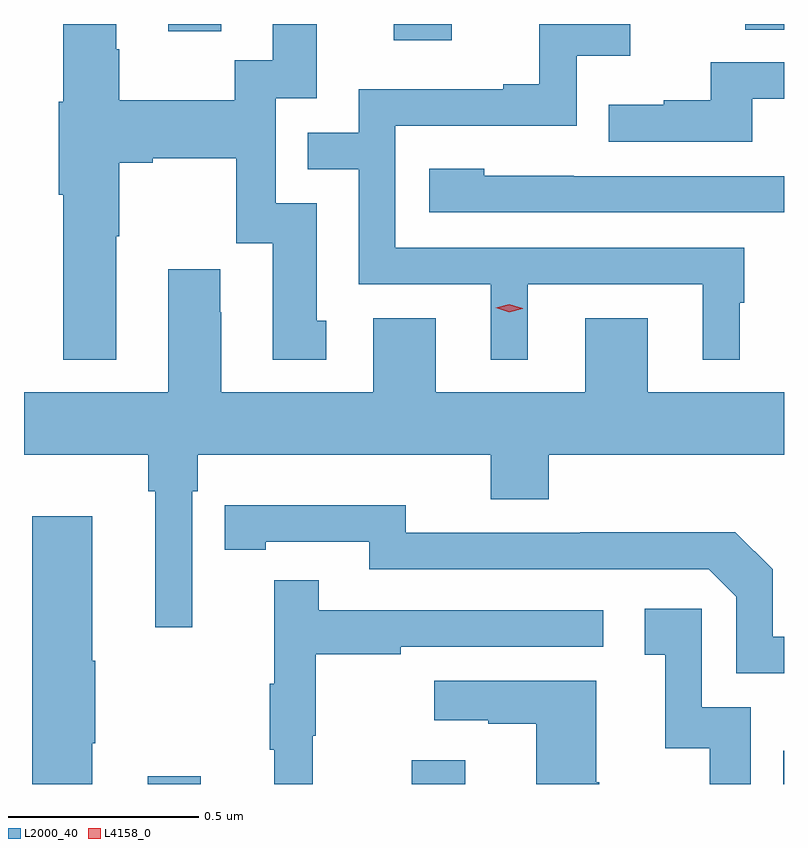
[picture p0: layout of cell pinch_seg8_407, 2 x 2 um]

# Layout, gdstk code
import gdstk
lib = gdstk.Library(unit=1e-6, precision=1e-09)
def R(c, l, rs):  # rectangles x0, y0, x1, y1
    for r in rs: c.add(gdstk.rectangle(r[:2], r[2:], *l))
def P(c, l, *ps):  # polygons
    for p in ps: c.add(gdstk.Polygon(p, *l))
L2000_40 = (2000, 40)
L4158_0 = (4158, 0)

pinch_seg8_407 = lib.new_cell('pinch_seg8_407')
R(pinch_seg8_407, L2000_40, [(507.089,1094.321,507.229,1094.341), (507.785,1094.321,507.925,1094.383), (508.762,1094.321,508.764,1094.409), (507.737,1096.278,507.889,1096.321), (507.143,1096.302,507.283,1096.321), (508.662,1096.306,508.764,1096.321)])
P(pinch_seg8_407, L2000_40, [(507.007,1095.763),(507.015,1095.763),(507.015,1095.956),(507.103,1095.956),(507.103,1095.968),(507.323,1095.968),(507.323,1095.744),(507.419,1095.744),(507.419,1095.438),(507.559,1095.438),(507.559,1095.54),(507.535,1095.54),(507.535,1095.849),(507.426,1095.849),(507.426,1096.125),(507.535,1096.125),(507.535,1096.321),(507.419,1096.321),(507.419,1096.226),(507.318,1096.226),(507.318,1096.12),(507.015,1096.12),(507.015,1096.254),(507.007,1096.254),(507.007,1096.321),(506.867,1096.321),(506.867,1096.116),(506.855,1096.116),(506.855,1095.872),(506.867,1095.872),(506.867,1095.437),(507.007,1095.437)],
  [(508.09,1095.636),(508.55,1095.636),(508.55,1095.437),(508.648,1095.437),(508.648,1095.588),(508.66,1095.588),(508.66,1095.732),(507.741,1095.732),(507.741,1096.053),(508.218,1096.053),(508.218,1096.238),(508.36,1096.238),(508.36,1096.321),(508.12,1096.321),(508.12,1096.162),(508.025,1096.162),(508.025,1096.149),(507.645,1096.149),(507.645,1096.035),(507.511,1096.035),(507.511,1095.939),(507.645,1095.939),(507.645,1095.636),(507.992,1095.636),(507.992,1095.437),(508.09,1095.437)],
  [(508.681,1096.124),(508.764,1096.124),(508.764,1096.221),(508.571,1096.221),(508.571,1096.12),(508.447,1096.12),(508.447,1096.108),(508.303,1096.108),(508.303,1096.011),(508.681,1096.011)],
  [(508.764,1095.921),(508.211,1095.921),(508.211,1095.922),(507.975,1095.922),(507.975,1095.94),(507.831,1095.94),(507.831,1095.825),(508.764,1095.825)],
  [(507.207,1095.092),(507.221,1095.092),(507.221,1095.188),(507.992,1095.188),(507.992,1095.071),(508.145,1095.071),(508.145,1095.188),(508.764,1095.188),(508.764,1095.352),(508.405,1095.352),(508.405,1095.547),(508.241,1095.547),(508.241,1095.352),(507.847,1095.352),(507.847,1095.547),(507.683,1095.547),(507.683,1095.352),(507.283,1095.352),(507.283,1095.563),(507.28,1095.563),(507.28,1095.676),(507.143,1095.676),(507.143,1095.352),(506.764,1095.352),(506.764,1095.188),(507.091,1095.188),(507.091,1095.092),(507.11,1095.092),(507.11,1094.733),(507.207,1094.733)],
  [(508.764,1094.709),(508.734,1094.709),(508.734,1094.886),(508.636,1094.984),(508.228,1094.984),(508.228,1094.982),(507.768,1094.982),(507.768,1095.055),(507.4,1095.055),(507.4,1095.054),(507.292,1095.054),(507.292,1094.938),(507.4,1094.938),(507.4,1094.958),(507.672,1094.958),(507.672,1094.886),(508.566,1094.886),(508.638,1094.814),(508.638,1094.613),(508.764,1094.613)],
  [(506.944,1094.428),(506.952,1094.428),(506.952,1094.645),(506.944,1094.645),(506.944,1095.025),(506.786,1095.025),(506.786,1094.321),(506.944,1094.321)],
  [(507.524,1094.448),(507.532,1094.448),(507.532,1094.662),(507.755,1094.662),(507.755,1094.682),(508.288,1094.682),(508.288,1094.778),(507.539,1094.778),(507.539,1094.857),(507.422,1094.857),(507.422,1094.585),(507.411,1094.585),(507.411,1094.411),(507.422,1094.411),(507.422,1094.321),(507.524,1094.321)],
  [(508.677,1094.523),(508.548,1094.523),(508.548,1094.782),(508.398,1094.782),(508.398,1094.661),(508.451,1094.661),(508.451,1094.415),(508.569,1094.415),(508.569,1094.321),(508.677,1094.321)],
  [(508.278,1094.326),(508.27,1094.326),(508.27,1094.593),(507.843,1094.593),(507.843,1094.489),(507.986,1094.489),(507.986,1094.479),(508.112,1094.479),(508.112,1094.321),(508.278,1094.321)])
P(pinch_seg8_407, L4158_0, [(508.041,1095.563),(508.005,1095.574),(508.005,1095.574),(508.005,1095.574),(508.041,1095.583),(508.077,1095.573),(508.077,1095.573),(508.077,1095.572)])

lib.write_gds('pinch_seg8_407.gds')
